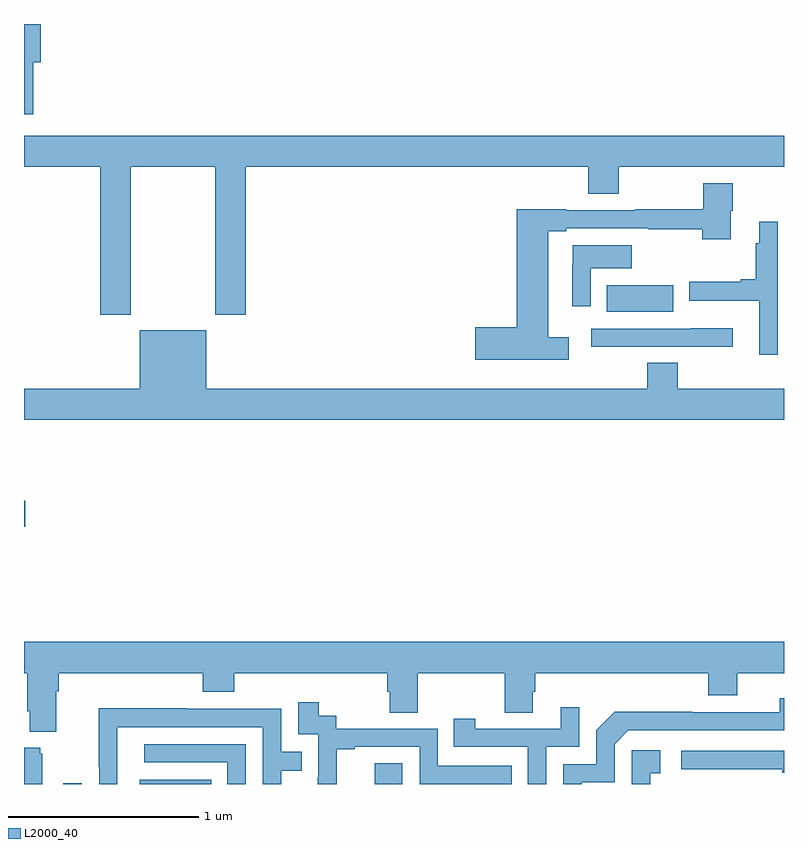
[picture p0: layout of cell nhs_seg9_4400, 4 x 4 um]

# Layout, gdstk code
import gdstk
lib = gdstk.Library(unit=1e-6, precision=1e-09)
def R(c, l, rs):  # rectangles x0, y0, x1, y1
    for r in rs: c.add(gdstk.rectangle(r[:2], r[2:], *l))
def P(c, l, *ps):  # polygons
    for p in ps: c.add(gdstk.Polygon(p, *l))
L2000_40 = (2000, 40)

nhs_seg9_4400 = lib.new_cell('nhs_seg9_4400')
R(nhs_seg9_4400, L2000_40, [(363.207,1198.5,363.303,1198.504), (363.608,1198.5,363.986,1198.522), (364.845,1198.5,364.992,1198.609), (363,1199.854,363.007,1199.991), (366.067,1200.986,366.417,1201.126)])
P(nhs_seg9_4400, L2000_40, [(363.049,1202.298),(363.089,1202.298),(363.089,1202.5),(363,1202.5),(363,1202.025),(363.049,1202.025)],
  [(363.561,1201.748),(364.006,1201.748),(364.006,1200.969),(364.166,1200.969),(364.166,1201.748),(365.969,1201.748),(365.969,1201.606),(366.129,1201.606),(366.129,1201.748),(367,1201.748),(367,1201.912),(363,1201.912),(363,1201.748),(363.401,1201.748),(363.401,1200.969),(363.561,1200.969)],
  [(365.866,1200.851),(365.758,1200.851),(365.758,1201.409),(365.854,1201.409),(365.854,1201.425),(366.286,1201.425),(366.286,1201.42),(366.569,1201.42),(366.569,1201.368),(366.721,1201.368),(366.721,1201.518),(366.729,1201.518),(366.729,1201.663),(366.574,1201.663),(366.574,1201.524),(366.217,1201.524),(366.217,1201.521),(365.854,1201.521),(365.854,1201.524),(365.594,1201.524),(365.594,1200.905),(365.376,1200.905),(365.376,1200.734),(365.866,1200.734)],
  [(366.966,1201.237),(366.967,1201.237),(366.967,1201.459),(366.869,1201.459),(366.869,1201.346),(366.85,1201.346),(366.85,1201.156),(366.773,1201.156),(366.773,1201.143),(366.502,1201.143),(366.502,1201.043),(366.869,1201.043),(366.869,1200.759),(366.966,1200.759)],
  [(365.982,1201.214),(366.199,1201.214),(366.199,1201.335),(365.887,1201.335),(365.887,1201.232),(365.886,1201.232),(365.886,1201.014),(365.982,1201.014)],
  [(366.73,1200.898),(366.51,1200.898),(366.51,1200.897),(365.985,1200.897),(365.985,1200.801),(366.73,1200.801)],
  [(367,1200.58),(366.44,1200.58),(366.44,1200.716),(366.28,1200.716),(366.28,1200.58),(363.958,1200.58),(363.958,1200.889),(363.608,1200.889),(363.608,1200.58),(363,1200.58),(363,1200.416),(367,1200.416)],
  [(363.169,1198.988),(363.182,1198.988),(363.182,1199.084),(363.941,1199.084),(363.941,1198.985),(364.106,1198.985),(364.106,1199.084),(364.913,1199.084),(364.913,1198.986),(364.925,1198.986),(364.925,1198.876),(365.073,1198.876),(365.073,1199.084),(365.53,1199.084),(365.53,1198.876),(365.677,1198.876),(365.677,1198.986),(365.69,1198.986),(365.69,1199.084),(366.602,1199.084),(366.602,1198.967),(366.754,1198.967),(366.754,1199.084),(367,1199.084),(367,1199.248),(363,1199.248),(363,1199.084),(363.017,1199.084),(363.017,1198.882),(363.029,1198.882),(363.029,1198.775),(363.169,1198.775)],
  [(365.935,1198.509),(366.108,1198.509),(366.108,1198.71),(366.18,1198.782),(367,1198.782),(367,1198.951),(366.978,1198.951),(366.978,1198.878),(366.518,1198.878),(366.518,1198.88),(366.11,1198.88),(366.012,1198.782),(366.012,1198.605),(365.838,1198.605),(365.838,1198.5),(365.935,1198.5)],
  [(364.646,1198.683),(364.741,1198.683),(364.741,1198.695),(365.082,1198.695),(365.082,1198.5),(365.567,1198.5),(365.567,1198.596),(365.178,1198.596),(365.178,1198.791),(364.644,1198.791),(364.644,1198.86),(364.552,1198.86),(364.552,1198.93),(364.443,1198.93),(364.443,1198.761),(364.548,1198.761),(364.548,1198.532),(364.547,1198.532),(364.547,1198.5),(364.646,1198.5)],
  [(365.748,1198.695),(365.922,1198.695),(365.922,1198.903),(365.825,1198.903),(365.825,1198.791),(365.374,1198.791),(365.374,1198.843),(365.263,1198.843),(365.263,1198.695),(365.652,1198.695),(365.652,1198.5),(365.748,1198.5)],
  [(363.492,1198.8),(364.257,1198.8),(364.257,1198.5),(364.353,1198.5),(364.353,1198.57),(364.463,1198.57),(364.463,1198.671),(364.353,1198.671),(364.353,1198.896),(363.857,1198.896),(363.857,1198.898),(363.394,1198.898),(363.394,1198.591),(363.396,1198.591),(363.396,1198.5),(363.492,1198.5)],
  [(364.167,1198.71),(363.633,1198.71),(363.633,1198.614),(364.071,1198.614),(364.071,1198.5),(364.167,1198.5)],
  [(363.097,1198.659),(363.086,1198.659),(363.086,1198.69),(363,1198.69),(363,1198.5),(363.097,1198.5)],
  [(366.296,1198.557),(366.349,1198.557),(366.349,1198.678),(366.198,1198.678),(366.198,1198.5),(366.296,1198.5)],
  [(367,1198.674),(366.459,1198.674),(366.459,1198.578),(366.991,1198.578),(366.991,1198.558),(367,1198.558)])

lib.write_gds('nhs_seg9_4400.gds')
